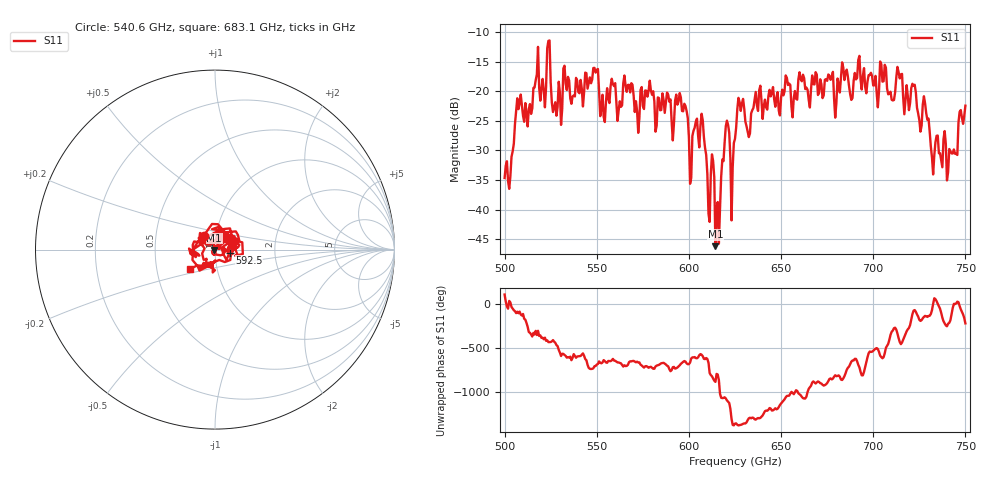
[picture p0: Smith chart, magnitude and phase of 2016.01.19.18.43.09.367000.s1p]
!Created with skrf (http://scikit-rf.org).
# GHz S RI R 50.0
!freq ReS11 ImS11
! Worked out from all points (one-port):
!   401 points, 500 GHz to 750 GHz, reference 50 ohm
!   lowest |S11| = -46.2 dB at 614.4 GHz (marker M1), VSWR 1.01, Z = 49.5 - j0.135 ohm
!   |S11| at or under -10 dB: start of sweep to end of sweep
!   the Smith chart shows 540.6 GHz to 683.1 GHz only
!   S11 on the Smith chart (normalised r, x): 540.6 GHz: 0.88, +0.13; 592.5 GHz: 1.18, -0.04; 683.1 GHz: 0.74, -0.16
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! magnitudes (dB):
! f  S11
! 500 GHz  -34.7
! 507.5 GHz  -23.0
! 516.9 GHz  -18.1
! 531.2 GHz  -23.0
! 540.6 GHz  -20.3
! 549.4 GHz  -16.9
! 553.1 GHz  -20.6
! 558.8 GHz  -18.8
! 562.5 GHz  -21.7
! 592.5 GHz  -21.6
! 593.8 GHz  -22.3
! 601.2 GHz  -34.6
! 607.5 GHz  -24.9
! 610 GHz  -34.0
! 614.4 GHz  -46.2
! 615.6 GHz  -38.7
! 620.6 GHz  -25.0
! 623.8 GHz  -32.8
! 625 GHz  -28.0
! 628.1 GHz  -23.3
! 631.9 GHz  -26.8
! 637.5 GHz  -23.3
! 656.2 GHz  -24.4
! 683.1 GHz  -15.1
! 687.5 GHz  -20.5
! 718.8 GHz  -20.8
! 741.2 GHz  -29.8
! 750 GHz  -22.4
